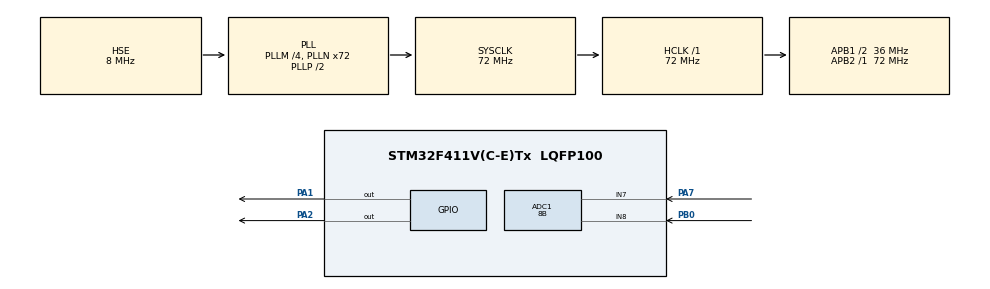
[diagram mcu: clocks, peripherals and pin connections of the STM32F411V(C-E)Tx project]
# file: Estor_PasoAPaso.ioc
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ADC1.Channel-1\#ChannelRegularConversion=ADC_CHANNEL_7
ADC1.Channel-2\#ChannelRegularConversion=ADC_CHANNEL_8
ADC1.ContinuousConvMode=ENABLE
ADC1.NbrOfConversion=2
ADC1.NbrOfConversionFlag=1
ADC1.Rank-1\#ChannelRegularConversion=1
ADC1.Rank-2\#ChannelRegularConversion=2
ADC1.Resolution=ADC_RESOLUTION_8B
ADC1.SamplingTime-1\#ChannelRegularConversion=ADC_SAMPLETIME_3CYCLES
ADC1.SamplingTime-2\#ChannelRegularConversion=ADC_SAMPLETIME_3CYCLES
ADC1.ScanConvMode=ENABLE
ADC1.master=1
Mcu.Family=STM32F4
Mcu.Name=STM32F411V(C-E)Tx
Mcu.Package=LQFP100
NVIC.ADC_IRQn=true\:0\:0\:false\:false\:true\:true\:true\:true
NVIC.PriorityGroup=NVIC_PRIORITYGROUP_0
PA1.Signal=GPIO_Output
PA2.Signal=GPIO_Output
PA7.Signal=ADCx_IN7
PB0.Signal=ADCx_IN8
PH0\ -\ OSC_IN.Mode=HSE-External-Oscillator
PH0\ -\ OSC_IN.Signal=RCC_OSC_IN
PH1\ -\ OSC_OUT.Mode=HSE-External-Oscillator
PH1\ -\ OSC_OUT.Signal=RCC_OSC_OUT
ProjectManager.HeapSize=0x200
ProjectManager.StackSize=0x400
ProjectManager.TargetToolchain=STM32CubeIDE
RCC.48MHZClocksFreq_Value=18000000
RCC.AHBFreq_Value=72000000
RCC.APB1CLKDivider=RCC_HCLK_DIV2
RCC.APB1Freq_Value=36000000
RCC.APB1TimFreq_Value=72000000
RCC.APB2Freq_Value=72000000
RCC.APB2TimFreq_Value=72000000
RCC.CortexFreq_Value=72000000
RCC.HCLKFreq_Value=72000000
RCC.HSE_VALUE=8000000
RCC.HSI_VALUE=16000000
RCC.LSE_VALUE=32768
RCC.PLLI2SM=5
RCC.PLLI2SN=200
RCC.PLLM=4
RCC.PLLN=72
RCC.PLLQ=8
RCC.PLLSourceVirtual=RCC_PLLSOURCE_HSE
RCC.SYSCLKFreq_VALUE=72000000
RCC.SYSCLKSource=RCC_SYSCLKSOURCE_PLLCLK
RCC.VCOOutputFreq_Value=144000000
SH.ADCx_IN7.0=ADC1_IN7,IN7
SH.ADCx_IN8.0=ADC1_IN8,IN8
TIM1.Prescaler=71
VP_TIM1_VS_ClockSourceINT.Mode=Internal
board=STM32F411E-DISCO

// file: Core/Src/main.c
/* USER CODE BEGIN Header */
/**
  ******************************************************************************
  * @file           : main.c
  * @brief          : Main program body
  ******************************************************************************
  * @attention
  *
  * Copyright (c) 2022 STMicroelectronics.
  * All rights reserved.
  *
  * This software is licensed under terms that can be found in the LICENSE file
  * in the root directory of this software component.
  * If no LICENSE file comes with this software, it is provided AS-IS.
  *
  ******************************************************************************
  */
/* USER CODE END Header */
#include "main.h"

ADC_HandleTypeDef hadc1;

TIM_HandleTypeDef htim1;

void SystemClock_Config(void);
static void MX_GPIO_Init(void);
static void MX_TIM1_Init(void);
static void MX_ADC1_Init(void);

/* USER CODE BEGIN 0 */

#define DIR_PIN GPIO_PIN_1
#define DIR_PORT GPIOA
#define STEP_PIN GPIO_PIN_2
#define STEP_PORT GPIOA

int16_t ADC_luz;
int16_t ADC_sharp;

uint16_t y_recogido = 0; //posicion inicial
uint16_t y_extendido = 600; //maxima extension del estor (26 cm)

volatile uint16_t posicion = 0;

void microDelay (uint16_t delay)
{
  __HAL_TIM_SET_COUNTER(&htim1, 0);
  while (__HAL_TIM_GET_COUNTER(&htim1) < delay);
}

void step (int steps, uint8_t direction, uint16_t delay)
{
  int x;
  if (direction == 0)
    HAL_GPIO_WritePin(DIR_PORT, DIR_PIN, GPIO_PIN_SET);
  else
    HAL_GPIO_WritePin(DIR_PORT, DIR_PIN, GPIO_PIN_RESET);
  for(x=0; x<steps; x=x+1)
  {
    HAL_GPIO_WritePin(STEP_PORT, STEP_PIN, GPIO_PIN_SET);
    microDelay(delay);
    HAL_GPIO_WritePin(STEP_PORT, STEP_PIN, GPIO_PIN_RESET);
    microDelay(delay);
  }
}

/* USER CODE END 0 */

int main(void)
{

  /* MCU Configuration--------------------------------------------------------*/

  /* Reset of all peripherals, Initializes the Flash interface and the Systick. */
  HAL_Init();

  /* Configure the system clock */
  SystemClock_Config();

  /* Initialize all configured peripherals */
  MX_GPIO_Init();
  MX_TIM1_Init();
  MX_ADC1_Init();
  /* USER CODE BEGIN 2 */
  HAL_TIM_Base_Start(&htim1);
  /* USER CODE END 2 */

  /* Infinite loop */
  /* USER CODE BEGIN WHILE */
  while (1)
    {
	  HAL_ADC_Start(&hadc1);
	  	  if (HAL_ADC_PollForConversion(&hadc1,100)==HAL_OK)
	  	  {
	  		ADC_luz=HAL_ADC_GetValue(&hadc1);
	  		ADC_sharp=HAL_ADC_GetValue(&hadc1);
	  	   if (ADC_luz>70){
	  		 while (posicion < y_extendido){
	  			step(1, 1, 1500); // 1 paso horario
	  			//HAL_Delay(10);
	  			posicion ++;
	  		 }
	  	   }
	  	   else if (ADC_luz<50) {
	  		 while (posicion > y_recogido){
	  			 step(1, 0, 1500); // 1 paso antihorario
	  			 //HAL_Delay(10);
	  			 posicion --;
	  		 }
	  	   }

	  	  }
	  	  HAL_ADC_Stop(&hadc1);

    /* USER CODE END WHILE */

  }
}

void SystemClock_Config(void)
{
  RCC_OscInitTypeDef RCC_OscInitStruct = {0};
  RCC_ClkInitTypeDef RCC_ClkInitStruct = {0};

  /** Configure the main internal regulator output voltage
  */
  __HAL_RCC_PWR_CLK_ENABLE();
  __HAL_PWR_VOLTAGESCALING_CONFIG(PWR_REGULATOR_VOLTAGE_SCALE1);

  /** Initializes the RCC Oscillators according to the specified parameters
  * in the RCC_OscInitTypeDef structure.
  */
  RCC_OscInitStruct.OscillatorType = RCC_OSCILLATORTYPE_HSE;
  RCC_OscInitStruct.HSEState = RCC_HSE_ON;
  RCC_OscInitStruct.PLL.PLLState = RCC_PLL_ON;
  RCC_OscInitStruct.PLL.PLLSource = RCC_PLLSOURCE_HSE;
  RCC_OscInitStruct.PLL.PLLM = 4;
  RCC_OscInitStruct.PLL.PLLN = 72;
  RCC_OscInitStruct.PLL.PLLP = RCC_PLLP_DIV2;
  RCC_OscInitStruct.PLL.PLLQ = 8;
  if (HAL_RCC_OscConfig(&RCC_OscInitStruct) != HAL_OK)
  {
    Error_Handler();
  }

  /** Initializes the CPU, AHB and APB buses clocks
  */
  RCC_ClkInitStruct.ClockType = RCC_CLOCKTYPE_HCLK|RCC_CLOCKTYPE_SYSCLK
                              |RCC_CLOCKTYPE_PCLK1|RCC_CLOCKTYPE_PCLK2;
  RCC_ClkInitStruct.SYSCLKSource = RCC_SYSCLKSOURCE_PLLCLK;
  RCC_ClkInitStruct.AHBCLKDivider = RCC_SYSCLK_DIV1;
  RCC_ClkInitStruct.APB1CLKDivider = RCC_HCLK_DIV2;
  RCC_ClkInitStruct.APB2CLKDivider = RCC_HCLK_DIV1;

  if (HAL_RCC_ClockConfig(&RCC_ClkInitStruct, FLASH_LATENCY_2) != HAL_OK)
  {
    Error_Handler();
  }
}

static void MX_ADC1_Init(void)
{

  ADC_ChannelConfTypeDef sConfig = {0};

  /** Configure the global features of the ADC (Clock, Resolution, Data Alignment and number of conversion)
  */
  hadc1.Instance = ADC1;
  hadc1.Init.ClockPrescaler = ADC_CLOCK_SYNC_PCLK_DIV2;
  hadc1.Init.Resolution = ADC_RESOLUTION_8B;
  hadc1.Init.ScanConvMode = ENABLE;
  hadc1.Init.ContinuousConvMode = ENABLE;
  hadc1.Init.DiscontinuousConvMode = DISABLE;
  hadc1.Init.ExternalTrigConvEdge = ADC_EXTERNALTRIGCONVEDGE_NONE;
  hadc1.Init.ExternalTrigConv = ADC_SOFTWARE_START;
  hadc1.Init.DataAlign = ADC_DATAALIGN_RIGHT;
  hadc1.Init.NbrOfConversion = 2;
  hadc1.Init.DMAContinuousRequests = DISABLE;
  hadc1.Init.EOCSelection = ADC_EOC_SINGLE_CONV;
  if (HAL_ADC_Init(&hadc1) != HAL_OK)
  {
    Error_Handler();
  }

  /** Configure for the selected ADC regular channel its corresponding rank in the sequencer and its sample time.
  */
  sConfig.Channel = ADC_CHANNEL_7;
  sConfig.Rank = 1;
  sConfig.SamplingTime = ADC_SAMPLETIME_3CYCLES;
  if (HAL_ADC_ConfigChannel(&hadc1, &sConfig) != HAL_OK)
  {
    Error_Handler();
  }

  /** Configure for the selected ADC regular channel its corresponding rank in the sequencer and its sample time.
  */
  sConfig.Channel = ADC_CHANNEL_8;
  sConfig.Rank = 2;
  if (HAL_ADC_ConfigChannel(&hadc1, &sConfig) != HAL_OK)
  {
    Error_Handler();
  }

}

static void MX_TIM1_Init(void)
{

  TIM_ClockConfigTypeDef sClockSourceConfig = {0};
  TIM_MasterConfigTypeDef sMasterConfig = {0};

  htim1.Instance = TIM1;
  htim1.Init.Prescaler = 71;
  htim1.Init.CounterMode = TIM_COUNTERMODE_UP;
  htim1.Init.Period = 65535;
  htim1.Init.ClockDivision = TIM_CLOCKDIVISION_DIV1;
  htim1.Init.RepetitionCounter = 0;
  htim1.Init.AutoReloadPreload = TIM_AUTORELOAD_PRELOAD_DISABLE;
  if (HAL_TIM_Base_Init(&htim1) != HAL_OK)
  {
    Error_Handler();
  }
  sClockSourceConfig.ClockSource = TIM_CLOCKSOURCE_INTERNAL;
  if (HAL_TIM_ConfigClockSource(&htim1, &sClockSourceConfig) != HAL_OK)
  {
    Error_Handler();
  }
  sMasterConfig.MasterOutputTrigger = TIM_TRGO_RESET;
  sMasterConfig.MasterSlaveMode = TIM_MASTERSLAVEMODE_DISABLE;
  if (HAL_TIMEx_MasterConfigSynchronization(&htim1, &sMasterConfig) != HAL_OK)
  {
    Error_Handler();
  }

}

static void MX_GPIO_Init(void)
{
  GPIO_InitTypeDef GPIO_InitStruct = {0};

  /* GPIO Ports Clock Enable */
  __HAL_RCC_GPIOH_CLK_ENABLE();
  __HAL_RCC_GPIOA_CLK_ENABLE();
  __HAL_RCC_GPIOB_CLK_ENABLE();

  /*Configure GPIO pin Output Level */
  HAL_GPIO_WritePin(GPIOA, GPIO_PIN_1|GPIO_PIN_2, GPIO_PIN_RESET);

  /*Configure GPIO pins : PA1 PA2 */
  GPIO_InitStruct.Pin = GPIO_PIN_1|GPIO_PIN_2;
  GPIO_InitStruct.Mode = GPIO_MODE_OUTPUT_PP;
  GPIO_InitStruct.Pull = GPIO_NOPULL;
  GPIO_InitStruct.Speed = GPIO_SPEED_FREQ_LOW;
  HAL_GPIO_Init(GPIOA, &GPIO_InitStruct);

}

void Error_Handler(void)
{
  __disable_irq();
  while (1)
  {
  }
}
